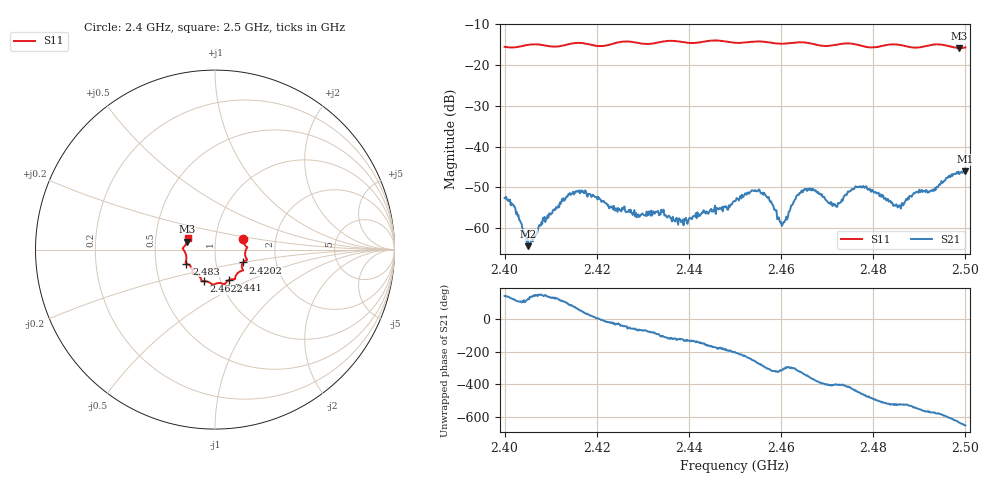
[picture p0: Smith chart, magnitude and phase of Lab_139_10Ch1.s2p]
# Hz S RI R 50
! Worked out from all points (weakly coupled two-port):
!   601 points, 2.4 GHz to 2.5 GHz, reference 50 ohm
!   highest |S21| = -46.09 dB at 2.5 GHz (marker M1); lowest = -64.4 dB at 2.4052 GHz (marker M2)
!   lowest |S11| = -15.8 dB at 2.4987 GHz (marker M3), VSWR 1.39, Z = 36.4 + j3.3 ohm
!   |S11| at or under -10 dB: start of sweep to end of sweep
!   S12 and S22 are empty: the file has one direction only
!   S11 on the Smith chart (normalised r, x): 2.4 GHz: 1.36, +0.17; 2.4202 GHz: 1.35, -0.20; 2.441 GHz: 1.09, -0.39; 2.4622 GHz: 0.83, -0.30; 2.483 GHz: 0.72, -0.12; 2.5 GHz: 0.73, +0.09
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2.4e9  0.1565 0.0605  -0.00186 0.00143  0 0  0 0
2.402167e9  0.1617 0.0346  -0.000886 0.00162  0 0  0 0
2.405167e9  0.1771 0.0151  -0.000363 0.000478  0 0  0 0
2.4125e9  0.1693 -0.0358  -0.000891 0.00211  0 0  0 0
2.416667e9  0.1778 -0.0584  0.00182 0.00227  0 0  0 0
2.420167e9  0.1563 -0.0718  0.00223 0.000246  0 0  0 0
2.428833e9  0.1451 -0.1194  0.000612 -0.00125  0 0  0 0
2.433333e9  0.1131 -0.1524  -5.16e-05 -0.00162  0 0  0 0
2.441e9  0.0767 -0.1703  -0.000973 -0.00101  0 0  0 0
2.45e9  0.0267 -0.1863  -0.00197 0.000821  0 0  0 0
2.4555e9  -0.012 -0.1951  0.000471 0.0027  0 0  0 0
2.460167e9  -0.0445 -0.1777  0.000749 0.000755  0 0  0 0
2.462167e9  -0.0632 -0.1764  0.000845 0.00168  0 0  0 0
2.464e9  -0.0726 -0.1766  0.00208 0.0017  0 0  0 0
2.466667e9  -0.0765 -0.1668  0.00288 -0.00024  0 0  0 0
2.471667e9  -0.1117 -0.1367  0.00148 -0.00128  0 0  0 0
2.476667e9  -0.1249 -0.126  9e-05 -0.00321  0 0  0 0
2.483e9  -0.1592 -0.0781  -0.00209 -0.000825  0 0  0 0
2.483333e9  -0.1608 -0.0774  -0.00199 -0.000712  0 0  0 0
2.485667e9  -0.1632 -0.07  -0.00181 -0.0006  0 0  0 0
2.498667e9  -0.1557 0.0442  0.000469 0.00458  0 0  0 0
2.5e9  -0.1527 0.0627  0.002 0.00454  0 0  0 0
